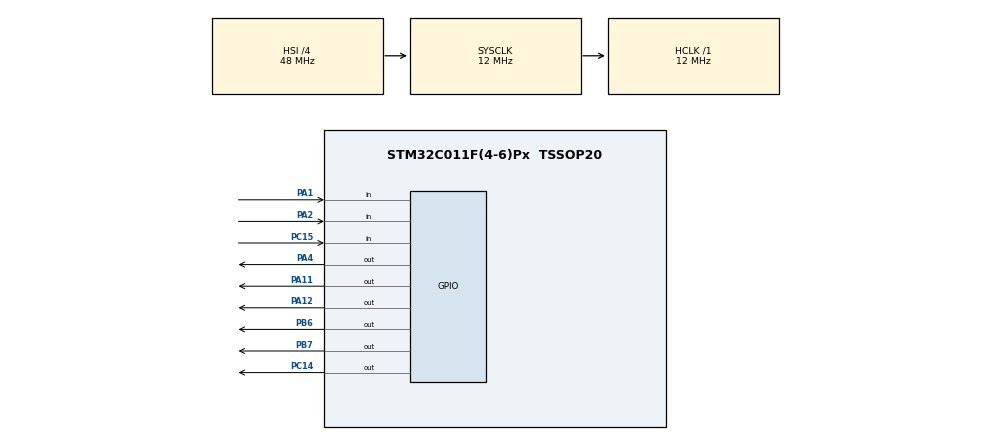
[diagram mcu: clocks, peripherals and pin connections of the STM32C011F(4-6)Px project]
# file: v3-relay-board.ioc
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Mcu.Family=STM32C0
Mcu.Name=STM32C011F(4-6)Px
Mcu.Package=TSSOP20
PA1.Signal=GPIO_Input
PA11\ [PA9].Signal=GPIO_Output
PA12\ [PA10].Signal=GPIO_Output
PA13.Mode=Serial_Wire
PA13.Signal=DEBUG_SWDIO
PA14-BOOT0.Mode=Serial_Wire
PA14-BOOT0.Signal=DEBUG_SWCLK
PA2.Signal=GPIO_Input
PA4.Signal=GPIO_Output
PB6.Signal=GPIO_Output
PB7.Signal=GPIO_Output
PC14-OSCX_IN\ (PC14).Signal=GPIO_Output
PC15-OSCX_OUT\ (PC15).Signal=GPIO_Input
ProjectManager.HeapSize=0x200
ProjectManager.StackSize=0x400
ProjectManager.TargetToolchain=STM32CubeIDE
RCC.ADCFreq_Value=12000000
RCC.AHBFreq_Value=12000000
RCC.CortexFreq_Value=12000000
RCC.EXTERNAL_CLOCK_VALUE=12288000
RCC.HCLKFreq_Value=12000000
RCC.HSE_VALUE=8000000
RCC.HSI_VALUE=48000000
RCC.LSE_VALUE=32768
RCC.SYSCLKFreq_VALUE=12000000
board=custom

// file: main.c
/* USER CODE BEGIN Header */
/**
  ******************************************************************************
  * @file           : main.c
  * @brief          : Main program body
  ******************************************************************************
  * @attention
  *
  * Copyright (c) 2026 STMicroelectronics.
  * All rights reserved.
  *
  * This software is licensed under terms that can be found in the LICENSE file
  * in the root directory of this software component.
  * If no LICENSE file comes with this software, it is provided AS-IS.
  *
  ******************************************************************************
  */
/* USER CODE END Header */
#include "main.h"

void SystemClock_Config(void);
static void MX_GPIO_Init(void);

int main(void)
{

  /* MCU Configuration--------------------------------------------------------*/

  /* Reset of all peripherals, Initializes the Flash interface and the Systick. */
  HAL_Init();

  /* Configure the system clock */
  SystemClock_Config();

  /* Initialize all configured peripherals */
  MX_GPIO_Init();
  /* USER CODE BEGIN 2 */
  //reset sequence
  HAL_GPIO_WritePin(GPIOC, GPIO_PIN_14, GPIO_PIN_RESET);
  HAL_Delay(100);
  HAL_GPIO_WritePin(GPIOC, GPIO_PIN_14, GPIO_PIN_SET);
  //reset sequence

  //Close Both relays
  HAL_GPIO_WritePin(GPIOB, GPIO_PIN_6, GPIO_PIN_SET);
  HAL_GPIO_WritePin(GPIOB, GPIO_PIN_7, GPIO_PIN_SET);

  uint32_t startupTime = HAL_GetTick();
  uint32_t imdPlausible = 0;
  uint32_t bmsFaultCounter = 0;

  /* USER CODE END 2 */

  /* Infinite loop */
  /* USER CODE BEGIN WHILE */
  while (1)
  {

	  uint8_t reset = (HAL_GPIO_ReadPin(GPIOA, GPIO_PIN_1) == GPIO_PIN_RESET);
	  uint8_t fault_imd = (HAL_GPIO_ReadPin(GPIOC, GPIO_PIN_15) == GPIO_PIN_RESET);
	  uint8_t fault_bms = (HAL_GPIO_ReadPin(GPIOA, GPIO_PIN_2) == GPIO_PIN_RESET);
	  if (HAL_GetTick() - startupTime > 30000){
		  imdPlausible = 1;
	  }

	  if (imdPlausible && fault_imd){
		  HAL_GPIO_WritePin(GPIOB, GPIO_PIN_7, GPIO_PIN_RESET);

	  }

	  if (fault_bms){
		  bmsFaultCounter++;
	  }

	  if (bmsFaultCounter > 100){
		  HAL_GPIO_WritePin(GPIOB, GPIO_PIN_6, GPIO_PIN_RESET);
	  }

	  if (reset){
		  //reset sequence
		  HAL_GPIO_WritePin(GPIOC, GPIO_PIN_14, GPIO_PIN_RESET);
		  HAL_Delay(100);
		  HAL_GPIO_WritePin(GPIOC, GPIO_PIN_14, GPIO_PIN_SET);
		  //reset sequence

		  HAL_GPIO_WritePin(GPIOB, GPIO_PIN_6, GPIO_PIN_SET);
		  HAL_GPIO_WritePin(GPIOB, GPIO_PIN_7, GPIO_PIN_SET);

		  bmsFaultCounter = 0;
		  startupTime = HAL_GetTick();
		  imdPlausible = 0;

	  }

    /* USER CODE END WHILE */

  }
}

void SystemClock_Config(void)
{
  RCC_OscInitTypeDef RCC_OscInitStruct = {0};
  RCC_ClkInitTypeDef RCC_ClkInitStruct = {0};

  __HAL_FLASH_SET_LATENCY(FLASH_LATENCY_0);

  /** Initializes the RCC Oscillators according to the specified parameters
  * in the RCC_OscInitTypeDef structure.
  */
  RCC_OscInitStruct.OscillatorType = RCC_OSCILLATORTYPE_HSI;
  RCC_OscInitStruct.HSIState = RCC_HSI_ON;
  RCC_OscInitStruct.HSIDiv = RCC_HSI_DIV4;
  RCC_OscInitStruct.HSICalibrationValue = RCC_HSICALIBRATION_DEFAULT;
  if (HAL_RCC_OscConfig(&RCC_OscInitStruct) != HAL_OK)
  {
    Error_Handler();
  }

  /** Initializes the CPU, AHB and APB buses clocks
  */
  RCC_ClkInitStruct.ClockType = RCC_CLOCKTYPE_HCLK|RCC_CLOCKTYPE_SYSCLK
                              |RCC_CLOCKTYPE_PCLK1;
  RCC_ClkInitStruct.SYSCLKSource = RCC_SYSCLKSOURCE_HSI;
  RCC_ClkInitStruct.SYSCLKDivider = RCC_SYSCLK_DIV1;
  RCC_ClkInitStruct.AHBCLKDivider = RCC_HCLK_DIV1;
  RCC_ClkInitStruct.APB1CLKDivider = RCC_APB1_DIV1;

  if (HAL_RCC_ClockConfig(&RCC_ClkInitStruct, FLASH_LATENCY_0) != HAL_OK)
  {
    Error_Handler();
  }
}

static void MX_GPIO_Init(void)
{
  GPIO_InitTypeDef GPIO_InitStruct = {0};

  /* GPIO Ports Clock Enable */
  __HAL_RCC_GPIOB_CLK_ENABLE();
  __HAL_RCC_GPIOC_CLK_ENABLE();
  __HAL_RCC_GPIOA_CLK_ENABLE();

  /*Configure GPIO pin Output Level */
  HAL_GPIO_WritePin(GPIOB, GPIO_PIN_7|GPIO_PIN_6, GPIO_PIN_RESET);

  /*Configure GPIO pin Output Level */
  HAL_GPIO_WritePin(GPIOC, GPIO_PIN_14, GPIO_PIN_RESET);

  /*Configure GPIO pin Output Level */
  HAL_GPIO_WritePin(GPIOA, GPIO_PIN_4|GPIO_PIN_11|GPIO_PIN_12, GPIO_PIN_RESET);

  /*Configure GPIO pins : PB7 PB6 */
  GPIO_InitStruct.Pin = GPIO_PIN_7|GPIO_PIN_6;
  GPIO_InitStruct.Mode = GPIO_MODE_OUTPUT_PP;
  GPIO_InitStruct.Pull = GPIO_NOPULL;
  GPIO_InitStruct.Speed = GPIO_SPEED_FREQ_LOW;
  HAL_GPIO_Init(GPIOB, &GPIO_InitStruct);

  /*Configure GPIO pin : PC14 */
  GPIO_InitStruct.Pin = GPIO_PIN_14;
  GPIO_InitStruct.Mode = GPIO_MODE_OUTPUT_PP;
  GPIO_InitStruct.Pull = GPIO_NOPULL;
  GPIO_InitStruct.Speed = GPIO_SPEED_FREQ_LOW;
  HAL_GPIO_Init(GPIOC, &GPIO_InitStruct);

  /*Configure GPIO pin : PC15 */
  GPIO_InitStruct.Pin = GPIO_PIN_15;
  GPIO_InitStruct.Mode = GPIO_MODE_INPUT;
  GPIO_InitStruct.Pull = GPIO_NOPULL;
  HAL_GPIO_Init(GPIOC, &GPIO_InitStruct);

  /*Configure GPIO pins : PA1 PA2 */
  GPIO_InitStruct.Pin = GPIO_PIN_1|GPIO_PIN_2;
  GPIO_InitStruct.Mode = GPIO_MODE_INPUT;
  GPIO_InitStruct.Pull = GPIO_NOPULL;
  HAL_GPIO_Init(GPIOA, &GPIO_InitStruct);

  /*Configure GPIO pins : PA4 PA11 PA12 */
  GPIO_InitStruct.Pin = GPIO_PIN_4|GPIO_PIN_11|GPIO_PIN_12;
  GPIO_InitStruct.Mode = GPIO_MODE_OUTPUT_PP;
  GPIO_InitStruct.Pull = GPIO_NOPULL;
  GPIO_InitStruct.Speed = GPIO_SPEED_FREQ_LOW;
  HAL_GPIO_Init(GPIOA, &GPIO_InitStruct);

}

void Error_Handler(void)
{
  __disable_irq();
  while (1)
  {
  }
}
